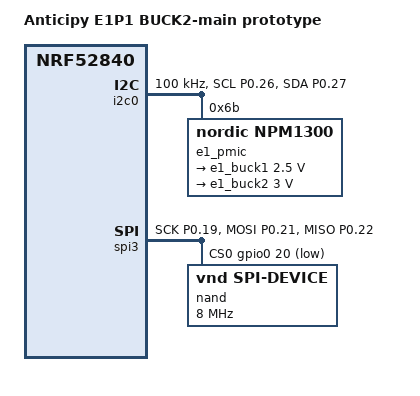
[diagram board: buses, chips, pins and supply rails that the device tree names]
/dts-v1/;
#include <nordic/nrf52840_qiaa.dtsi>
#include <zephyr/dt-bindings/pinctrl/nrf-pinctrl.h>
#include <zephyr/dt-bindings/regulator/npm1300.h>
/ {
 model = "Anticipy E1P1 BUCK2-main prototype";
 compatible = "anticipation-labs,anticipy-e1";
 chosen { zephyr,sram = &sram0; zephyr,flash = &flash0; };
 aliases { watchdog0 = &wdt0; };
};
&pinctrl {
 e1_i2c: e1_i2c { group1 { psels = <NRF_PSEL(TWIM_SCL,0,26)>, <NRF_PSEL(TWIM_SDA,0,27)>; }; };
 e1_i2c_sleep: e1_i2c_sleep { group1 { psels = <NRF_PSEL(TWIM_SCL,0,26)>, <NRF_PSEL(TWIM_SDA,0,27)>; low-power-enable; }; };
 e1_spi: e1_spi { group1 { psels = <NRF_PSEL(SPIM_SCK,0,19)>, <NRF_PSEL(SPIM_MOSI,0,21)>, <NRF_PSEL(SPIM_MISO,0,22)>; }; };
 e1_spi_sleep: e1_spi_sleep { group1 { psels = <NRF_PSEL(SPIM_SCK,0,19)>, <NRF_PSEL(SPIM_MOSI,0,21)>, <NRF_PSEL(SPIM_MISO,0,22)>; low-power-enable; }; };
};
&uicr { gpio-as-nreset; };
&gpio0 { status = "okay"; };
&gpio1 { status = "okay"; };
&gpiote { status = "okay"; };
&i2c0 {
 compatible = "nordic,nrf-twim"; status = "okay"; clock-frequency = <I2C_BITRATE_STANDARD>;
 pinctrl-0 = <&e1_i2c>; pinctrl-1 = <&e1_i2c_sleep>; pinctrl-names = "default", "sleep";
 e1_pmic: pmic@6b {
  compatible = "nordic,npm1300"; reg = <0x6b>;
  e1_regulators: regulators {
   compatible = "nordic,npm1300-regulator";
   /* E1P1: BUCK1 is an unloaded 2.5V auxiliary; TP12 goes off after init. */
   e1_buck1: BUCK1 { regulator-min-microvolt = <2500000>; regulator-max-microvolt = <2500000>; regulator-init-microvolt = <2500000>; regulator-boot-off; };
   /* E1P1: BUCK2 supplies the MCU and NAND. Never disable the main rail. */
   e1_buck2: BUCK2 { regulator-min-microvolt = <3000000>; regulator-max-microvolt = <3000000>; regulator-init-microvolt = <3000000>; regulator-always-on; };
  };
  e1_charger: charger {
   compatible = "nordic,npm1300-charger";
   term-microvolt = <4200000>; term-warm-microvolt = <4100000>;
   current-microamp = <40000>; dischg-limit-microamp = <270000>;
   vbus-limit-microamp = <100000>; thermistor-ohms = <10000>;
   /* Required driver property only. e1_board.c uses the TDK 8307 table. */
   thermistor-beta = <4000>;
   /* Charging deliberately disabled in the first bring-up image. */
  };
  e1_leds: leds {
   compatible = "nordic,npm1300-led";
   nordic,led0-mode = "host"; nordic,led1-mode = "host"; nordic,led2-mode = "host";
  };
 };
};
&spi3 {
 compatible = "nordic,nrf-spim"; status = "okay";
 pinctrl-0 = <&e1_spi>; pinctrl-1 = <&e1_spi_sleep>; pinctrl-names = "default", "sleep";
 cs-gpios = <&gpio0 20 GPIO_ACTIVE_LOW>;
 nand: nand@0 { compatible = "vnd,spi-device"; reg = <0>; spi-max-frequency = <8000000>; };
};
&flash0 { partitions { compatible = "fixed-partitions"; #address-cells = <1>; #size-cells = <1>;
 code_partition: partition@0 { label = "application"; reg = <0x0 0xfc000>; };
 storage_partition: partition@fc000 { label = "storage"; reg = <0xfc000 0x4000>; };
}; };
